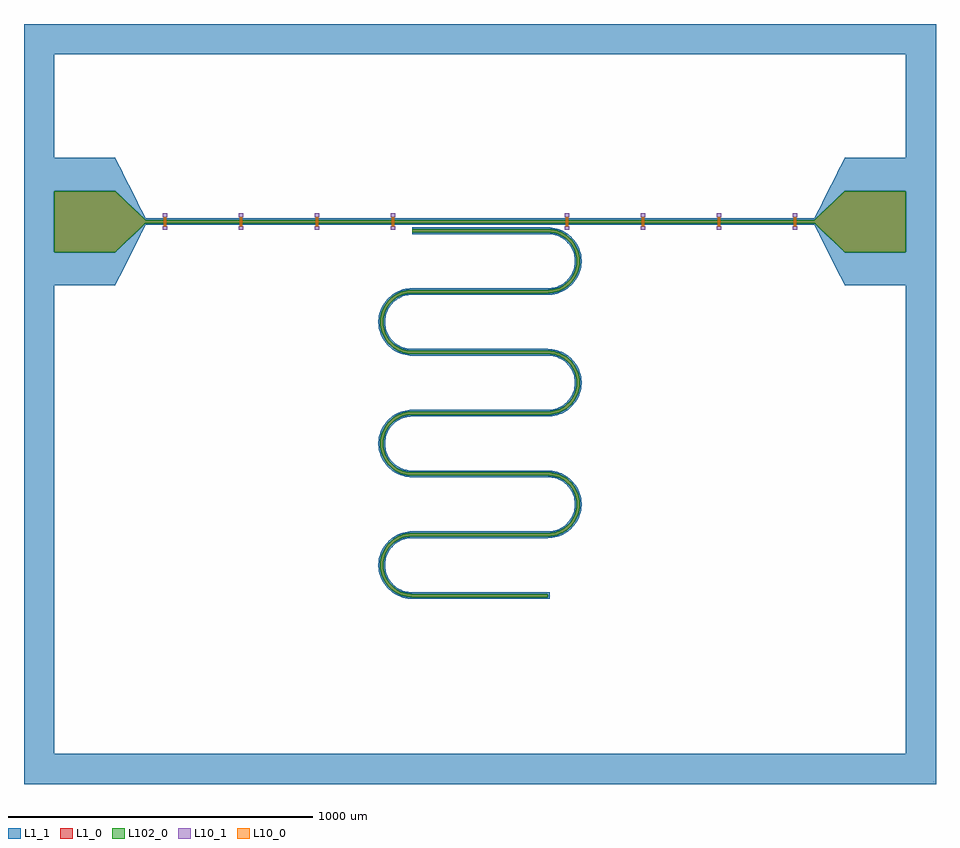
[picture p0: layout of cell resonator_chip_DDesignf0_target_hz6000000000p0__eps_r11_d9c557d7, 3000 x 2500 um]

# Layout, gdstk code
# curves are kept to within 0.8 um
from math import pi, radians
import gdstk
lib = gdstk.Library(unit=1e-6, precision=1e-09)
def R(c, l, rs):  # rectangles x0, y0, x1, y1
    for r in rs: c.add(gdstk.rectangle(r[:2], r[2:], *l))
def P(c, l, *ps):  # polygons
    for p in ps: c.add(gdstk.Polygon(p, *l))
L1_0 = (1, 0)
L1_1 = (1, 1)
L10_0 = (10, 0)
L10_1 = (10, 1)
L102_0 = (102, 0)

straight_l446p0243241820 = lib.new_cell('straight_L446p02432418203045_CScoplanar_waveguide_N2')
R(straight_l446p0243241820, L1_0, [(0,-5,446.024,5)])
R(straight_l446p0243241820, L1_1, [(0,-11,446.024,-5), (0,5,446.024,11)])
R(straight_l446p0243241820, L102_0, [(0,-5,446.024,5)])

bend_circular_a180_r100_ = lib.new_cell('bend_circular_A180_R100_NNone_CScoplanar_waveguide_AMRVTrue_AS4')
P(bend_circular_a180_r100_, L1_0, [(0,-5),(0,5),(19.751,7.079),(38.639,13.216),(55.838,23.146),(70.596,36.435),(78.756,46.878),(88.08,64.414),(93.554,83.504),(94.939,96.685),(93.554,116.496),(88.08,135.586),(78.756,153.122),(70.596,163.565),(55.838,176.854),(38.639,186.784),(19.751,192.921),(0,195),(0,205),(14.614,203.981),(35.913,198.671),(55.643,189.048),(72.941,175.533),(87.051,158.717),(97.357,139.335),(103.408,118.234),(104.939,103.665),(103.408,81.766),(97.357,60.665),(87.051,41.283),(72.941,24.467),(55.643,10.952),(35.913,1.329),(14.614,-3.981)])
P(bend_circular_a180_r100_, L1_1, [(0,-11),(0,-5),(14.614,-3.981),(35.913,1.329),(55.643,10.952),(72.941,24.467),(87.051,41.283),(97.357,60.665),(103.408,81.766),(104.939,96.335),(104.428,110.976),(99.864,132.448),(90.935,152.502),(78.032,170.261),(67.495,180.437),(49.296,192.712),(35.913,198.671),(21.831,202.708),(0,205),(0,211),(15.449,209.926),(37.967,204.312),(58.825,194.139),(77.112,179.852),(92.029,162.074),(102.924,141.584),(109.32,119.276),(110.939,103.874),(109.32,80.724),(102.924,58.416),(92.029,37.926),(77.112,20.148),(58.825,5.861),(37.967,-4.312),(15.449,-9.926)],
  [(0,5),(0,11),(18.503,12.951),(36.197,18.701),(47.159,24.529),(61.82,35.984),(70.128,45.21),(79.987,60.988),(86.35,78.471),(88.939,96.894),(88.506,109.302),(84.638,127.5),(77.07,144.497),(66.135,159.548),(52.309,171.997),(36.197,181.299),(18.503,187.049),(0,189),(0,195),(19.751,192.921),(38.639,186.784),(50.341,180.562),(65.99,168.335),(74.859,158.486),(85.383,141.644),(92.175,122.982),(94.939,103.315),(93.554,83.504),(88.08,64.414),(78.756,46.878),(65.99,31.665),(50.341,19.438),(38.639,13.216),(19.751,7.079)])
P(bend_circular_a180_r100_, L102_0, [(0,-5),(0,5),(19.751,7.079),(38.639,13.216),(55.838,23.146),(70.596,36.435),(78.756,46.878),(88.08,64.414),(93.554,83.504),(94.939,96.685),(93.554,116.496),(88.08,135.586),(78.756,153.122),(70.596,163.565),(55.838,176.854),(38.639,186.784),(19.751,192.921),(0,195),(0,205),(14.614,203.981),(35.913,198.671),(55.643,189.048),(72.941,175.533),(87.051,158.717),(97.357,139.335),(103.408,118.234),(104.939,103.665),(103.408,81.766),(97.357,60.665),(87.051,41.283),(72.941,24.467),(55.643,10.952),(35.913,1.329),(14.614,-3.981)])

rectangle_gdsfactorypcom = lib.new_cell('rectangle_gdsfactorypcomponentspshapesprectangle_S6_22__2d316d18')
R(rectangle_gdsfactorypcom, L1_1, [(-3,-11,3,11)])

resonator_l5006p74026927 = lib.new_cell('resonator_L5006p7402692742135_M6_BSFbend_circular_Mqpdk_20177d50')
resonator_l5006p74026927.add(gdstk.Reference(straight_l446p0243241820, (0,0)))
resonator_l5006p74026927.add(gdstk.Reference(bend_circular_a180_r100_, (446.024,0), x_reflection=True))
resonator_l5006p74026927.add(gdstk.Reference(straight_l446p0243241820, (446.024,-200), rotation=pi))
resonator_l5006p74026927.add(gdstk.Reference(bend_circular_a180_r100_, (0,-200), rotation=pi))
resonator_l5006p74026927.add(gdstk.Reference(straight_l446p0243241820, (0,-400)))
resonator_l5006p74026927.add(gdstk.Reference(bend_circular_a180_r100_, (446.024,-400), x_reflection=True))
resonator_l5006p74026927.add(gdstk.Reference(straight_l446p0243241820, (446.024,-600), rotation=pi))
resonator_l5006p74026927.add(gdstk.Reference(bend_circular_a180_r100_, (0,-600), rotation=pi))
resonator_l5006p74026927.add(gdstk.Reference(straight_l446p0243241820, (0,-800)))
resonator_l5006p74026927.add(gdstk.Reference(bend_circular_a180_r100_, (446.024,-800), x_reflection=True))
resonator_l5006p74026927.add(gdstk.Reference(straight_l446p0243241820, (446.024,-1000), rotation=pi))
resonator_l5006p74026927.add(gdstk.Reference(bend_circular_a180_r100_, (0,-1000), rotation=pi))
resonator_l5006p74026927.add(gdstk.Reference(straight_l446p0243241820, (0,-1200)))
resonator_l5006p74026927.add(gdstk.Reference(rectangle_gdsfactorypcom, (449.024,-1200)))

straight_l445p9692395886 = lib.new_cell('straight_L445p96923958861964_CScoplanar_waveguide_N2')
R(straight_l445p9692395886, L1_0, [(0,-5,445.969,5)])
R(straight_l445p9692395886, L1_1, [(0,-11,445.969,-5), (0,5,445.969,11)])
R(straight_l445p9692395886, L102_0, [(0,-5,445.969,5)])

resonator_coupled_l5006p = lib.new_cell('resonator_coupled_L5006p7402692742135_M6_BSFbend_circul_20b63b1d')
resonator_coupled_l5006p.add(gdstk.Reference(resonator_l5006p74026927, (0,0)))
resonator_coupled_l5006p.add(gdstk.Reference(straight_l445p9692395886, (0,30)))

c_rectangle_gdsfactorypcom = lib.new_cell('rectangle_gdsfactorypcomponentspshapesprectangle_S30_8__56f9a496')
R(c_rectangle_gdsfactorypcom, L10_0, [(-15,-4,15,4)])

c_rectangle_gdsfactorypcom_ = lib.new_cell('rectangle_gdsfactorypcomponentspshapesprectangle_S12_15_8e7b1f7b')
R(c_rectangle_gdsfactorypcom_, L10_1, [(-6,-7.5,6,7.5)])

airbridge_bl30_bw8_pw15_ = lib.new_cell('airbridge_BL30_BW8_PW15_PL12_BLAB_DRAW_PLAB_VIA')
airbridge_bl30_bw8_pw15_.add(gdstk.Reference(c_rectangle_gdsfactorypcom, (0,0), rotation=pi/2))
airbridge_bl30_bw8_pw15_.add(gdstk.Reference(c_rectangle_gdsfactorypcom_, (0,-21), rotation=pi/2))
airbridge_bl30_bw8_pw15_.add(gdstk.Reference(c_rectangle_gdsfactorypcom_, (0,21), rotation=pi/2))

along_path_ppathstart_an = lib.new_cell('along_path_PPathstart_angle0__end_angle0p0__points__0p__f642b21c')
along_path_ppathstart_an.add(gdstk.Reference(airbridge_bl30_bw8_pw15_, (63.494,0)))
along_path_ppathstart_an.add(gdstk.Reference(airbridge_bl30_bw8_pw15_, (313.494,0)))
along_path_ppathstart_an.add(gdstk.Reference(airbridge_bl30_bw8_pw15_, (563.494,0)))
along_path_ppathstart_an.add(gdstk.Reference(airbridge_bl30_bw8_pw15_, (813.494,0)))

straight_l876p988_cscopl = lib.new_cell('straight_L876p988_CScoplanar_waveguide_N2')
R(straight_l876p988_cscopl, L1_0, [(0,-5,876.988,5)])
R(straight_l876p988_cscopl, L1_1, [(0,-11,876.988,-5), (0,5,876.988,11)])
R(straight_l876p988_cscopl, L102_0, [(0,-5,876.988,5)])
straight_l876p988_cscopl.add(gdstk.Reference(along_path_ppathstart_an, (0,0)))

straight_l200_cslauncher = lib.new_cell('straight_L200_CSlauncher_cross_section_big_N2')
R(straight_l200_cslauncher, L1_0, [(0,-100,200,100)])
R(straight_l200_cslauncher, L1_1, [(0,-210,200,-100), (0,100,200,210)])
R(straight_l200_cslauncher, L102_0, [(0,-100,200,100)])

taper_cross_section_gdsf = lib.new_cell('taper_cross_section_gdsfactorypcomponentsptapersptaper__08a3b3a8')
P(taper_cross_section_gdsf, L1_0, [(0,-100),(0,100),(100,5),(100,-5)])
P(taper_cross_section_gdsf, L1_1, [(0,-210),(0,-100),(100,-5),(100,-11)],
  [(100,5),(0,100),(0,210),(100,11)])
P(taper_cross_section_gdsf, L102_0, [(0,-100),(0,100),(100,5),(100,-5)])

launcher_sl200_tl100_csb = lib.new_cell('launcher_SL200_TL100_CSBlauncher_cross_section_big_CSScpw')
launcher_sl200_tl100_csb.add(gdstk.Reference(straight_l200_cslauncher, (0,0)))
launcher_sl200_tl100_csb.add(gdstk.Reference(taper_cross_section_gdsf, (200,0)))

c_along_path_ppathstart_an = lib.new_cell('along_path_PPathstart_angle0__end_angle0p0__points__0p__a5fbc72e')
c_along_path_ppathstart_an.add(gdstk.Reference(airbridge_bl30_bw8_pw15_, (63.522,0)))
c_along_path_ppathstart_an.add(gdstk.Reference(airbridge_bl30_bw8_pw15_, (313.522,0)))
c_along_path_ppathstart_an.add(gdstk.Reference(airbridge_bl30_bw8_pw15_, (563.522,0)))
c_along_path_ppathstart_an.add(gdstk.Reference(airbridge_bl30_bw8_pw15_, (813.522,0)))

straight_l877p0430000000 = lib.new_cell('straight_L877p0430000000001_CScoplanar_waveguide_N2')
R(straight_l877p0430000000, L1_0, [(0,-5,877.043,5)])
R(straight_l877p0430000000, L1_1, [(0,-11,877.043,-5), (0,5,877.043,11)])
R(straight_l877p0430000000, L102_0, [(0,-5,877.043,5)])
straight_l877p0430000000.add(gdstk.Reference(c_along_path_ppathstart_an, (0,0)))

rectangle_s3000_100_lm1_ = lib.new_cell('rectangle_S3000_100_LM1_ETCH_CFalse_PTNone_PO180_90_0_m90')
R(rectangle_s3000_100_lm1_, L1_1, [(0,0,3000,100)])

rectangle_s100_2500_lm1_ = lib.new_cell('rectangle_S100_2500_LM1_ETCH_CFalse_PTNone_PO180_90_0_m90')
R(rectangle_s100_2500_lm1_, L1_1, [(0,0,100,2500)])

chip_edge_s3000_2500_w10 = lib.new_cell('chip_edge_S3000_2500_W100_LM1_ETCH')
chip_edge_s3000_2500_w10.add(gdstk.Reference(rectangle_s3000_100_lm1_, (0,2400)))
chip_edge_s3000_2500_w10.add(gdstk.Reference(rectangle_s3000_100_lm1_, (0,0)))
chip_edge_s3000_2500_w10.add(gdstk.Reference(rectangle_s100_2500_lm1_, (0,0)))
chip_edge_s3000_2500_w10.add(gdstk.Reference(rectangle_s100_2500_lm1_, (2900,0)))

resonator_chip_ddesignf0 = lib.new_cell('resonator_chip_DDesignf0_target_hz6000000000p0__eps_r11_d9c557d7')
resonator_chip_ddesignf0.add(gdstk.Reference(resonator_coupled_l5006p, (-223.012,570)))
resonator_chip_ddesignf0.add(gdstk.Reference(straight_l876p988_cscopl, (-223.012,600), rotation=pi))
resonator_chip_ddesignf0.add(gdstk.Reference(launcher_sl200_tl100_csb, (-1400,600)))
resonator_chip_ddesignf0.add(gdstk.Reference(straight_l877p0430000000, (222.957,600)))
resonator_chip_ddesignf0.add(gdstk.Reference(launcher_sl200_tl100_csb, (1400,600), rotation=pi))
resonator_chip_ddesignf0.add(gdstk.Reference(chip_edge_s3000_2500_w10, (-1500,-1250)))

lib.write_gds('resonator_chip_DDesignf0_target_hz6000000000p0__eps_r11_d9c557d7.gds')
